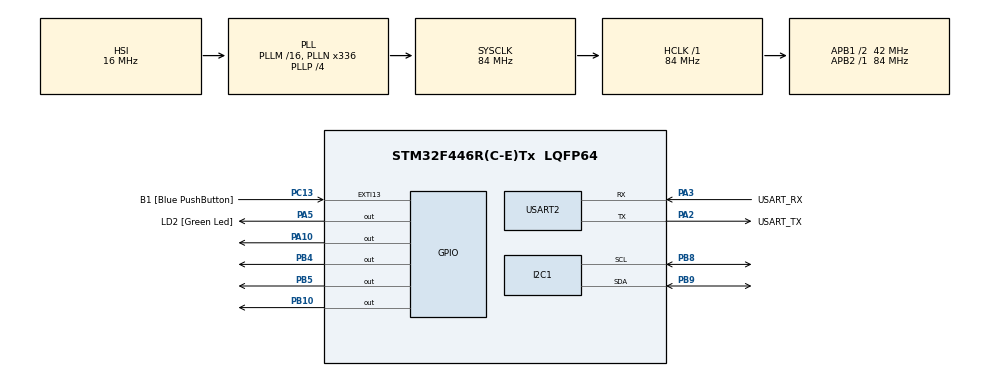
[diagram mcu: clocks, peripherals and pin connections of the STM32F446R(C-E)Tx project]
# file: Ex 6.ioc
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Dma.I2C1_RX.0.Direction=DMA_PERIPH_TO_MEMORY
Dma.I2C1_RX.0.FIFOMode=DMA_FIFOMODE_DISABLE
Dma.I2C1_RX.0.Instance=DMA1_Stream0
Dma.I2C1_RX.0.MemDataAlignment=DMA_MDATAALIGN_BYTE
Dma.I2C1_RX.0.MemInc=DMA_MINC_ENABLE
Dma.I2C1_RX.0.Mode=DMA_NORMAL
Dma.I2C1_RX.0.PeriphDataAlignment=DMA_PDATAALIGN_BYTE
Dma.I2C1_RX.0.PeriphInc=DMA_PINC_DISABLE
Dma.I2C1_RX.0.Priority=DMA_PRIORITY_LOW
Dma.Request0=I2C1_RX
Mcu.Family=STM32F4
Mcu.Name=STM32F446R(C-E)Tx
Mcu.Package=LQFP64
NVIC.DMA1_Stream0_IRQn=true\:0\:0\:false\:false\:true\:false\:true\:true
NVIC.PriorityGroup=NVIC_PRIORITYGROUP_0
NVIC.TIM2_IRQn=true\:0\:0\:false\:false\:true\:true\:true\:true
PA10.Signal=GPIO_Output
PA13.GPIO_Label=TMS
PA13.Mode=Serial_Wire
PA13.Signal=SYS_JTMS-SWDIO
PA14.GPIO_Label=TCK
PA14.Mode=Serial_Wire
PA14.Signal=SYS_JTCK-SWCLK
PA2.GPIO_Label=USART_TX
PA2.Mode=Asynchronous
PA2.Signal=USART2_TX
PA3.GPIO_Label=USART_RX
PA3.Mode=Asynchronous
PA3.Signal=USART2_RX
PA5.GPIO_Label=LD2 [Green Led]
PA5.Signal=GPIO_Output
PB10.Signal=GPIO_Output
PB3.GPIO_Label=SWO
PB3.Signal=SYS_JTDO-SWO
PB4.Signal=GPIO_Output
PB5.Signal=GPIO_Output
PB8.Mode=I2C
PB8.Signal=I2C1_SCL
PB9.Mode=I2C
PB9.Signal=I2C1_SDA
PC13.GPIO_Label=B1 [Blue PushButton]
PC13.GPIO_ModeDefaultEXTI=GPIO_MODE_IT_FALLING
PC13.Signal=GPXTI13
PC14-OSC32_IN.Mode=LSE-External-Oscillator
PC14-OSC32_IN.Signal=RCC_OSC32_IN
PC15-OSC32_OUT.Mode=LSE-External-Oscillator
PC15-OSC32_OUT.Signal=RCC_OSC32_OUT
PH0-OSC_IN.Mode=HSE-External-Oscillator
PH0-OSC_IN.Signal=RCC_OSC_IN
PH1-OSC_OUT.Mode=HSE-External-Oscillator
PH1-OSC_OUT.Signal=RCC_OSC_OUT
ProjectManager.HeapSize=0x200
ProjectManager.StackSize=0x400
ProjectManager.TargetToolchain=STM32CubeIDE
RCC.48MHZClocksFreq_Value=84000000
RCC.AHBFreq_Value=84000000
RCC.APB1CLKDivider=RCC_HCLK_DIV2
RCC.APB1Freq_Value=42000000
RCC.APB1TimFreq_Value=84000000
RCC.APB2Freq_Value=84000000
RCC.APB2TimFreq_Value=84000000
RCC.CortexFreq_Value=84000000
RCC.FLatency-AdvancedSettings=FLASH_LATENCY_2
RCC.HCLKFreq_Value=84000000
RCC.HSE_VALUE=8000000
RCC.HSI_VALUE=16000000
RCC.PLLN=336
RCC.PLLP=RCC_PLLP_DIV4
RCC.SYSCLKFreq_VALUE=84000000
RCC.SYSCLKSource=RCC_SYSCLKSOURCE_PLLCLK
RCC.USBFreq_Value=168000000
RCC.VCOOutputFreq_Value=336000000
TIM2.Period=20000-1
TIM2.Prescaler=84-1
USART2.VirtualMode=VM_ASYNC
VP_TIM2_VS_ClockSourceINT.Mode=Internal
board=NUCLEO-F446RE

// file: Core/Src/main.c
/* USER CODE BEGIN Header */
/**
  ******************************************************************************
  * @file           : main.c
  * @brief          : Main program body
  ******************************************************************************
  * @attention
  *
  * Copyright (c) 2025 STMicroelectronics.
  * All rights reserved.
  *
  * This software is licensed under terms that can be found in the LICENSE file
  * in the root directory of this software component.
  * If no LICENSE file comes with this software, it is provided AS-IS.
  *
  ******************************************************************************
  */
/* USER CODE END Header */
#include "main.h"

/* USER CODE BEGIN Includes */
#include "string.h"
#include "stdio.h"
/* USER CODE END Includes */

/* USER CODE BEGIN PD */
#define SIZE_I2C_BUFFER 14
#define SIZE_UART_TX_BUFFER 100
/* USER CODE END PD */

I2C_HandleTypeDef hi2c1;
DMA_HandleTypeDef hdma_i2c1_rx;

TIM_HandleTypeDef htim2;

UART_HandleTypeDef huart2;

/* USER CODE BEGIN PV */
static const uint8_t LSM6DSO_ADDRESS = 0x6A << 1;	// shift 7-bit I2C address into 8-bit container
static const uint8_t CTRL1_XL		 = 0x10;		// control register 1
static const uint8_t CTRL2_G         = 0x11;		// control register 2
static const uint8_t OUTX_L_A        = 0x28;		// accel X-axis output
static const uint8_t OUT_TEMP_L		 = 0x20;		//
uint8_t i2c_buffer[SIZE_I2C_BUFFER];				// storage for data from I2C
uint8_t uart_tx_buffer[SIZE_UART_TX_BUFFER];		// storeage for UART tx data
float acceleration[3];								// converted results from accel
float temperature;									// calculated temperature value
float angular_vel[3];								// calculated angular velocity value
uint8_t i2c_sample_complete = 0;					// flag to be set in DMA interrupt callback
/* USER CODE END PV */

void SystemClock_Config(void);
static void MX_GPIO_Init(void);
static void MX_DMA_Init(void);
static void MX_USART2_UART_Init(void);
static void MX_I2C1_Init(void);
static void MX_TIM2_Init(void);

/* USER CODE BEGIN 0 */
void LED_POT()
{

	if(acceleration[0] >= 50)
	{
		// if accel >= 50  LED1 on
		GPIOB->ODR |= GPIO_PIN_10;

		if(acceleration[0] >= 100)
		{
			// if accel >= 100  LED2 on
			GPIOB->ODR |= GPIO_PIN_4;

			if(acceleration[0] >= 150)
			{
				// if accel >= 150  LED3 on
				GPIOB->ODR |= GPIO_PIN_5;

				if(acceleration[0] >= 200)
				{
					// if accel >= 200  LED4 on
					GPIOA->ODR |= GPIO_PIN_10;
				}
			}
		}
	}
	HAL_Delay(2); // delay to allow LED to show
	// all LED off at end of execution
	GPIOA->ODR &= ~GPIO_PIN_10;
	GPIOB->ODR &= ~GPIO_PIN_5;
	GPIOB->ODR &= ~GPIO_PIN_4;
	GPIOB->ODR &= ~GPIO_PIN_10;
}
/* USER CODE END 0 */

int main(void)
{

  /* MCU Configuration--------------------------------------------------------*/

  /* Reset of all peripherals, Initializes the Flash interface and the Systick. */
  HAL_Init();

  /* Configure the system clock */
  SystemClock_Config();

  /* Initialize all configured peripherals */
  MX_GPIO_Init();
  MX_DMA_Init();
  MX_USART2_UART_Init();
  MX_I2C1_Init();
  MX_TIM2_Init();
  /* USER CODE BEGIN 2 */
  // Set accelerometer sample rate to 1.667 KHz and sensitivity to +/-2g
  // Set gyroscope sample rate to 1.667 KHz and sensitivity to +/- 250dps
  i2c_buffer[0] = 0b10000000;

  // accelerometer
  if(HAL_I2C_Mem_Write(&hi2c1, LSM6DSO_ADDRESS, CTRL1_XL, 1, i2c_buffer, 1, HAL_MAX_DELAY) != HAL_OK)
  {
	  strcpy((char*)uart_tx_buffer, "Error Tx \n"); // report error via UART
  }else
  {
	  strcpy((char*)uart_tx_buffer, "Acc sample rate set \n");
  }
  HAL_UART_Transmit(&huart2, (uint8_t*)uart_tx_buffer, strlen((const char*)uart_tx_buffer), HAL_MAX_DELAY);

  // gyroscope
  if(HAL_I2C_Mem_Write(&hi2c1, LSM6DSO_ADDRESS, CTRL2_G, 1, i2c_buffer, 1, HAL_MAX_DELAY) != HAL_OK)
  {
	  strcpy((char*)uart_tx_buffer, "Error Tx \n"); // report error via UART
  }else
  {
	  strcpy((char*)uart_tx_buffer, "Gyro sample rate set \n");
  }
  HAL_UART_Transmit(&huart2, (uint8_t*)uart_tx_buffer, strlen((const char*)uart_tx_buffer), HAL_MAX_DELAY);

  HAL_TIM_Base_Start_IT(&htim2); // start timer to generate regular sampling from imu
  /* USER CODE END 2 */

  /* Infinite loop */
  /* USER CODE BEGIN WHILE */
  while (1)
  {
	while(i2c_sample_complete == 0){};
	i2c_sample_complete = 0;
	convert_accelerations(i2c_buffer);

	sprintf((char*)uart_tx_buffer, "X:%4.2f, Y:%4.2f, Z:%4.2f \n", acceleration[0], acceleration[1], acceleration[2]);

	HAL_UART_Transmit(&huart2, (uint8_t*)uart_tx_buffer, strlen((const char*)uart_tx_buffer), HAL_MAX_DELAY);

	LED_POT();
    /* USER CODE END WHILE */

  }
}

void SystemClock_Config(void)
{
  RCC_OscInitTypeDef RCC_OscInitStruct = {0};
  RCC_ClkInitTypeDef RCC_ClkInitStruct = {0};

  /** Configure the main internal regulator output voltage
  */
  __HAL_RCC_PWR_CLK_ENABLE();
  __HAL_PWR_VOLTAGESCALING_CONFIG(PWR_REGULATOR_VOLTAGE_SCALE3);

  /** Initializes the RCC Oscillators according to the specified parameters
  * in the RCC_OscInitTypeDef structure.
  */
  RCC_OscInitStruct.OscillatorType = RCC_OSCILLATORTYPE_HSI;
  RCC_OscInitStruct.HSIState = RCC_HSI_ON;
  RCC_OscInitStruct.HSICalibrationValue = RCC_HSICALIBRATION_DEFAULT;
  RCC_OscInitStruct.PLL.PLLState = RCC_PLL_ON;
  RCC_OscInitStruct.PLL.PLLSource = RCC_PLLSOURCE_HSI;
  RCC_OscInitStruct.PLL.PLLM = 16;
  RCC_OscInitStruct.PLL.PLLN = 336;
  RCC_OscInitStruct.PLL.PLLP = RCC_PLLP_DIV4;
  RCC_OscInitStruct.PLL.PLLQ = 2;
  RCC_OscInitStruct.PLL.PLLR = 2;
  if (HAL_RCC_OscConfig(&RCC_OscInitStruct) != HAL_OK)
  {
    Error_Handler();
  }

  /** Initializes the CPU, AHB and APB buses clocks
  */
  RCC_ClkInitStruct.ClockType = RCC_CLOCKTYPE_HCLK|RCC_CLOCKTYPE_SYSCLK
                              |RCC_CLOCKTYPE_PCLK1|RCC_CLOCKTYPE_PCLK2;
  RCC_ClkInitStruct.SYSCLKSource = RCC_SYSCLKSOURCE_PLLCLK;
  RCC_ClkInitStruct.AHBCLKDivider = RCC_SYSCLK_DIV1;
  RCC_ClkInitStruct.APB1CLKDivider = RCC_HCLK_DIV2;
  RCC_ClkInitStruct.APB2CLKDivider = RCC_HCLK_DIV1;

  if (HAL_RCC_ClockConfig(&RCC_ClkInitStruct, FLASH_LATENCY_2) != HAL_OK)
  {
    Error_Handler();
  }
}

static void MX_I2C1_Init(void)
{

  hi2c1.Instance = I2C1;
  hi2c1.Init.ClockSpeed = 100000;
  hi2c1.Init.DutyCycle = I2C_DUTYCYCLE_2;
  hi2c1.Init.OwnAddress1 = 0;
  hi2c1.Init.AddressingMode = I2C_ADDRESSINGMODE_7BIT;
  hi2c1.Init.DualAddressMode = I2C_DUALADDRESS_DISABLE;
  hi2c1.Init.OwnAddress2 = 0;
  hi2c1.Init.GeneralCallMode = I2C_GENERALCALL_DISABLE;
  hi2c1.Init.NoStretchMode = I2C_NOSTRETCH_DISABLE;
  if (HAL_I2C_Init(&hi2c1) != HAL_OK)
  {
    Error_Handler();
  }

}

static void MX_TIM2_Init(void)
{

  TIM_ClockConfigTypeDef sClockSourceConfig = {0};
  TIM_MasterConfigTypeDef sMasterConfig = {0};

  htim2.Instance = TIM2;
  htim2.Init.Prescaler = 84-1;
  htim2.Init.CounterMode = TIM_COUNTERMODE_UP;
  htim2.Init.Period = 20000-1;
  htim2.Init.ClockDivision = TIM_CLOCKDIVISION_DIV1;
  htim2.Init.AutoReloadPreload = TIM_AUTORELOAD_PRELOAD_DISABLE;
  if (HAL_TIM_Base_Init(&htim2) != HAL_OK)
  {
    Error_Handler();
  }
  sClockSourceConfig.ClockSource = TIM_CLOCKSOURCE_INTERNAL;
  if (HAL_TIM_ConfigClockSource(&htim2, &sClockSourceConfig) != HAL_OK)
  {
    Error_Handler();
  }
  sMasterConfig.MasterOutputTrigger = TIM_TRGO_RESET;
  sMasterConfig.MasterSlaveMode = TIM_MASTERSLAVEMODE_DISABLE;
  if (HAL_TIMEx_MasterConfigSynchronization(&htim2, &sMasterConfig) != HAL_OK)
  {
    Error_Handler();
  }

}

static void MX_USART2_UART_Init(void)
{

  huart2.Instance = USART2;
  huart2.Init.BaudRate = 115200;
  huart2.Init.WordLength = UART_WORDLENGTH_8B;
  huart2.Init.StopBits = UART_STOPBITS_1;
  huart2.Init.Parity = UART_PARITY_NONE;
  huart2.Init.Mode = UART_MODE_TX_RX;
  huart2.Init.HwFlowCtl = UART_HWCONTROL_NONE;
  huart2.Init.OverSampling = UART_OVERSAMPLING_16;
  if (HAL_UART_Init(&huart2) != HAL_OK)
  {
    Error_Handler();
  }

}

static void MX_DMA_Init(void)
{

  /* DMA controller clock enable */
  __HAL_RCC_DMA1_CLK_ENABLE();

  /* DMA interrupt init */
  /* DMA1_Stream0_IRQn interrupt configuration */
  HAL_NVIC_SetPriority(DMA1_Stream0_IRQn, 0, 0);
  HAL_NVIC_EnableIRQ(DMA1_Stream0_IRQn);

}

static void MX_GPIO_Init(void)
{
  GPIO_InitTypeDef GPIO_InitStruct = {0};

  /* GPIO Ports Clock Enable */
  __HAL_RCC_GPIOC_CLK_ENABLE();
  __HAL_RCC_GPIOH_CLK_ENABLE();
  __HAL_RCC_GPIOA_CLK_ENABLE();
  __HAL_RCC_GPIOB_CLK_ENABLE();

  /*Configure GPIO pin Output Level */
  HAL_GPIO_WritePin(GPIOA, LD2_Pin|GPIO_PIN_10, GPIO_PIN_RESET);

  /*Configure GPIO pin Output Level */
  HAL_GPIO_WritePin(GPIOB, GPIO_PIN_10|GPIO_PIN_4|GPIO_PIN_5, GPIO_PIN_RESET);

  /*Configure GPIO pin : B1_Pin */
  GPIO_InitStruct.Pin = B1_Pin;
  GPIO_InitStruct.Mode = GPIO_MODE_IT_FALLING;
  GPIO_InitStruct.Pull = GPIO_NOPULL;
  HAL_GPIO_Init(B1_GPIO_Port, &GPIO_InitStruct);

  /*Configure GPIO pins : LD2_Pin PA10 */
  GPIO_InitStruct.Pin = LD2_Pin|GPIO_PIN_10;
  GPIO_InitStruct.Mode = GPIO_MODE_OUTPUT_PP;
  GPIO_InitStruct.Pull = GPIO_NOPULL;
  GPIO_InitStruct.Speed = GPIO_SPEED_FREQ_LOW;
  HAL_GPIO_Init(GPIOA, &GPIO_InitStruct);

  /*Configure GPIO pins : PB10 PB4 PB5 */
  GPIO_InitStruct.Pin = GPIO_PIN_10|GPIO_PIN_4|GPIO_PIN_5;
  GPIO_InitStruct.Mode = GPIO_MODE_OUTPUT_PP;
  GPIO_InitStruct.Pull = GPIO_NOPULL;
  GPIO_InitStruct.Speed = GPIO_SPEED_FREQ_LOW;
  HAL_GPIO_Init(GPIOB, &GPIO_InitStruct);

}

/* USER CODE BEGIN 4 */
void HAL_TIM_PeriodElapsedCallback(TIM_HandleTypeDef *htim)
{
	if(htim == &htim2)
	{
		// Sample IMU (read 6 bytes starting from OUTX_L_A)
		HAL_I2C_Mem_Read_DMA(&hi2c1, LSM6DSO_ADDRESS, OUT_TEMP_L, I2C_MEMADD_SIZE_8BIT, i2c_buffer, SIZE_I2C_BUFFER);
	}
}

void HAL_I2C_MemRxCpltCallback(I2C_HandleTypeDef *hi2c)
{
	i2c_sample_complete = 1; // set flag to indicate DMA transfer complete
}
/* USER CODE END 4 */

void Error_Handler(void)
{
  __disable_irq();
  while (1)
  {
  }
}
